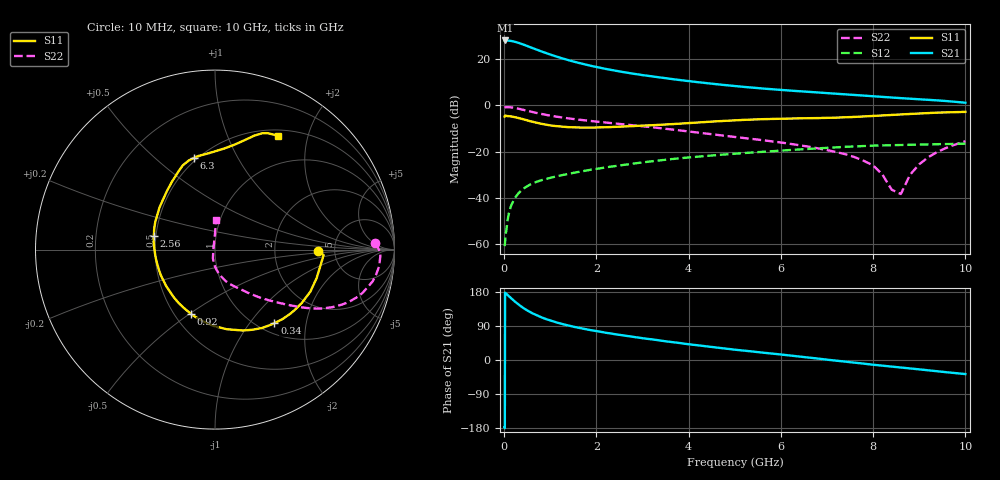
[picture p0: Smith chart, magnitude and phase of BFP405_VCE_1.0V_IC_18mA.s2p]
! Infineon Technologies  Discrete & RF Semiconductors
! BFP405
! VCE =  1.0 V,  IC =  18 mA
! Common Emitter S-Parameters:  Jan 2016
# GHz  S  MA  R  50
!  f  S11  S21  S12  S22
! GHz  MAG  ANG  MAG  ANG  MAG  ANG  MAG  ANG
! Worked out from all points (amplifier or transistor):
!   233 points, 10 MHz to 10 GHz, reference 50 ohm
!   highest |S21| = 28.2 dB at 20 MHz (marker M1)
!   |S21| within 3 dB of that: start of sweep to 576.9 MHz
!   unconditionally stable (mu >= 1): start of sweep to 45.61 MHz; 1.339 GHz to end of sweep
!   at 200 MHz: K = 0.36, MSG = 34.5 dB, |S12| = -41.3 dB
!   at 1.74 GHz: K = 1.15, MAG = 20.7 dB, |S12| = -28.3 dB
!   at 10 GHz: K = 1.55, MAG = 4.5 dB, |S12| = -16.6 dB
!   S11 on the Smith chart (normalised r, x): 10 MHz: 3.70, -0.07; 340 MHz: 1.17, -1.33; 920 MHz: 0.60, -0.51; 2.56 GHz: 0.49, +0.08; 6.3 GHz: 0.48, +0.68; 10 GHz: 0.58, +1.55
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0.01  0.575 -0.6  25.48 -177.4  0.0009 111.0  0.8944 2.3
0.02  0.606 -2.9  25.56 177.7  0.0011 100.5  0.9134 0.0
0.1  0.5881 -15.7  25.43 168.6  0.0045 83.3  0.9208 -5.4
0.15  0.5806 -23.8  24.98 163.2  0.0067 80.6  0.9098 -8.5
0.24  0.5567 -37.4  23.86 153.5  0.0101 74.7  0.8783 -13.5
0.34  0.5268 -51.1  22.16 143.9  0.0135 69.7  0.8392 -18.1
0.45  0.4925 -65.1  20.25 134.6  0.0167 65.2  0.79 -22.1
0.6  0.4481 -81.8  17.73 124.0  0.0202 61.0  0.7271 -26.2
0.8  0.4022 -100.8  14.89 112.9  0.024 57.7  0.6574 -30.0
0.92  0.3823 -110.6  13.49 107.5  0.0259 56.4  0.6231 -31.6
1.1  0.3599 -124.4  11.73 100.3  0.0288 55.1  0.5801 -33.7
1.26  0.346 -134.8  10.46 95.0  0.0311 54.6  0.5488 -35.1
1.68  0.3325 -158.5  8.053 83.4  0.0375 53.3  0.4849 -38.5
2.06  0.3345 -175.2  6.615 75.0  0.0434 52.2  0.4419 -41.2
2.56  0.3491 167.6  5.334 65.3  0.0514 50.3  0.3945 -44.5
3.4  0.3829 145.0  4.004 51.2  0.0653 45.4  0.3216 -50.7
5.1  0.4831 114.6  2.576 26.0  0.0918 33.1  0.2026 -67.7
6.3  0.5238 103.0  2.068 10.5  0.1102 24.0  0.143 -79.2
6.8  0.5336 96.4  1.907 3.8  0.118 19.9  0.1182 -84.4
8  0.593 79.7  1.585 -12.5  0.1351 8.3  0.0504 -103.3
8.4  0.6242 75.7  1.486 -17.4  0.1382 4.5  0.0151 -130.3
10  0.7264 60.9  1.147 -37.1  0.1486 -8.2  0.1677 88.6
